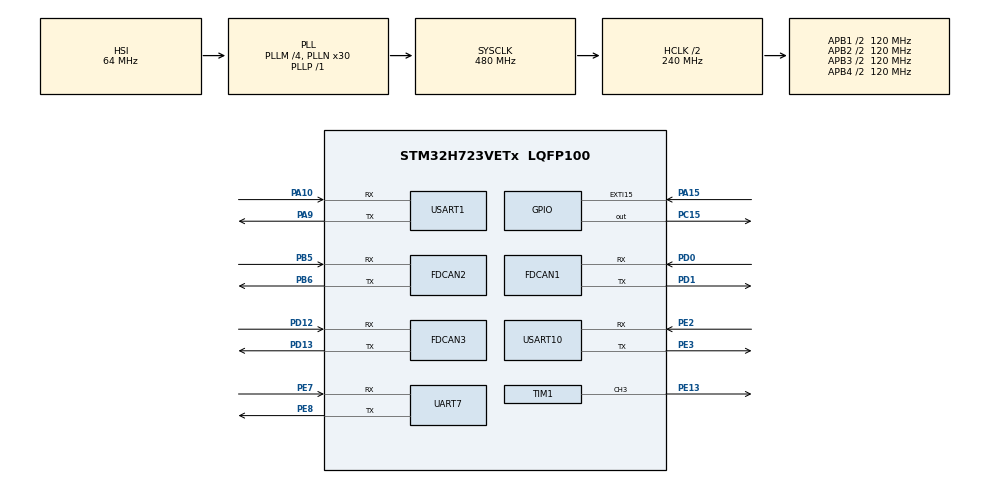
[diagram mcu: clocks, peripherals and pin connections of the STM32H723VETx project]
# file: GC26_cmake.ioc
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Dma.Request0=USART1_RX
Dma.Request1=USART1_TX
Dma.Request2=UART7_RX
Dma.Request3=UART7_TX
Dma.Request4=USART10_RX
Dma.UART7_RX.2.Direction=DMA_PERIPH_TO_MEMORY
Dma.UART7_RX.2.EventEnable=DISABLE
Dma.UART7_RX.2.FIFOMode=DMA_FIFOMODE_DISABLE
Dma.UART7_RX.2.Instance=DMA1_Stream2
Dma.UART7_RX.2.MemDataAlignment=DMA_MDATAALIGN_BYTE
Dma.UART7_RX.2.MemInc=DMA_MINC_ENABLE
Dma.UART7_RX.2.Mode=DMA_NORMAL
Dma.UART7_RX.2.PeriphDataAlignment=DMA_PDATAALIGN_BYTE
Dma.UART7_RX.2.PeriphInc=DMA_PINC_DISABLE
Dma.UART7_RX.2.Polarity=HAL_DMAMUX_REQ_GEN_RISING
Dma.UART7_RX.2.Priority=DMA_PRIORITY_LOW
Dma.UART7_RX.2.RequestNumber=1
Dma.UART7_RX.2.SignalID=NONE
Dma.UART7_RX.2.SyncEnable=DISABLE
Dma.UART7_RX.2.SyncPolarity=HAL_DMAMUX_SYNC_NO_EVENT
Dma.UART7_RX.2.SyncRequestNumber=1
Dma.UART7_RX.2.SyncSignalID=NONE
Dma.UART7_TX.3.Direction=DMA_MEMORY_TO_PERIPH
Dma.UART7_TX.3.EventEnable=DISABLE
Dma.UART7_TX.3.FIFOMode=DMA_FIFOMODE_DISABLE
Dma.UART7_TX.3.Instance=DMA1_Stream3
Dma.UART7_TX.3.MemDataAlignment=DMA_MDATAALIGN_BYTE
Dma.UART7_TX.3.MemInc=DMA_MINC_ENABLE
Dma.UART7_TX.3.Mode=DMA_NORMAL
Dma.UART7_TX.3.PeriphDataAlignment=DMA_PDATAALIGN_BYTE
Dma.UART7_TX.3.PeriphInc=DMA_PINC_DISABLE
Dma.UART7_TX.3.Polarity=HAL_DMAMUX_REQ_GEN_RISING
Dma.UART7_TX.3.Priority=DMA_PRIORITY_LOW
Dma.UART7_TX.3.RequestNumber=1
Dma.UART7_TX.3.SignalID=NONE
Dma.UART7_TX.3.SyncEnable=DISABLE
Dma.UART7_TX.3.SyncPolarity=HAL_DMAMUX_SYNC_NO_EVENT
Dma.UART7_TX.3.SyncRequestNumber=1
Dma.UART7_TX.3.SyncSignalID=NONE
Dma.USART10_RX.4.Direction=DMA_PERIPH_TO_MEMORY
Dma.USART10_RX.4.EventEnable=DISABLE
Dma.USART10_RX.4.FIFOMode=DMA_FIFOMODE_DISABLE
Dma.USART10_RX.4.Instance=DMA1_Stream4
Dma.USART10_RX.4.MemDataAlignment=DMA_MDATAALIGN_BYTE
Dma.USART10_RX.4.MemInc=DMA_MINC_ENABLE
Dma.USART10_RX.4.Mode=DMA_NORMAL
Dma.USART10_RX.4.PeriphDataAlignment=DMA_PDATAALIGN_BYTE
Dma.USART10_RX.4.PeriphInc=DMA_PINC_DISABLE
Dma.USART10_RX.4.Polarity=HAL_DMAMUX_REQ_GEN_RISING
Dma.USART10_RX.4.Priority=DMA_PRIORITY_LOW
Dma.USART10_RX.4.RequestNumber=1
Dma.USART10_RX.4.SignalID=NONE
Dma.USART10_RX.4.SyncEnable=DISABLE
Dma.USART10_RX.4.SyncPolarity=HAL_DMAMUX_SYNC_NO_EVENT
Dma.USART10_RX.4.SyncRequestNumber=1
Dma.USART10_RX.4.SyncSignalID=NONE
Dma.USART1_RX.0.Direction=DMA_PERIPH_TO_MEMORY
Dma.USART1_RX.0.EventEnable=DISABLE
Dma.USART1_RX.0.FIFOMode=DMA_FIFOMODE_DISABLE
Dma.USART1_RX.0.Instance=DMA1_Stream0
Dma.USART1_RX.0.MemDataAlignment=DMA_MDATAALIGN_BYTE
Dma.USART1_RX.0.MemInc=DMA_MINC_ENABLE
Dma.USART1_RX.0.Mode=DMA_CIRCULAR
Dma.USART1_RX.0.PeriphDataAlignment=DMA_PDATAALIGN_BYTE
Dma.USART1_RX.0.PeriphInc=DMA_PINC_DISABLE
Dma.USART1_RX.0.Polarity=HAL_DMAMUX_REQ_GEN_RISING
Dma.USART1_RX.0.Priority=DMA_PRIORITY_LOW
Dma.USART1_RX.0.RequestNumber=1
Dma.USART1_RX.0.SignalID=NONE
Dma.USART1_RX.0.SyncEnable=DISABLE
Dma.USART1_RX.0.SyncPolarity=HAL_DMAMUX_SYNC_NO_EVENT
Dma.USART1_RX.0.SyncRequestNumber=1
Dma.USART1_RX.0.SyncSignalID=NONE
Dma.USART1_TX.1.Direction=DMA_MEMORY_TO_PERIPH
Dma.USART1_TX.1.EventEnable=DISABLE
Dma.USART1_TX.1.FIFOMode=DMA_FIFOMODE_DISABLE
Dma.USART1_TX.1.Instance=DMA1_Stream1
Dma.USART1_TX.1.MemDataAlignment=DMA_MDATAALIGN_BYTE
Dma.USART1_TX.1.MemInc=DMA_MINC_ENABLE
Dma.USART1_TX.1.Mode=DMA_NORMAL
Dma.USART1_TX.1.PeriphDataAlignment=DMA_PDATAALIGN_BYTE
Dma.USART1_TX.1.PeriphInc=DMA_PINC_DISABLE
Dma.USART1_TX.1.Polarity=HAL_DMAMUX_REQ_GEN_RISING
Dma.USART1_TX.1.Priority=DMA_PRIORITY_LOW
Dma.USART1_TX.1.RequestNumber=1
Dma.USART1_TX.1.SignalID=NONE
Dma.USART1_TX.1.SyncEnable=DISABLE
Dma.USART1_TX.1.SyncPolarity=HAL_DMAMUX_SYNC_NO_EVENT
Dma.USART1_TX.1.SyncRequestNumber=1
Dma.USART1_TX.1.SyncSignalID=NONE
FDCAN1.CalculateBaudRateNominal=1000000
FDCAN1.CalculateTimeBitNominal=1000
FDCAN1.CalculateTimeQuantumNominal=25.0
FDCAN1.DataPrescaler=3
FDCAN1.DataSyncJumpWidth=10
FDCAN1.DataTimeSeg1=29
FDCAN1.DataTimeSeg2=10
FDCAN1.NominalPrescaler=3
FDCAN1.NominalSyncJumpWidth=10
FDCAN1.NominalTimeSeg1=29
FDCAN1.NominalTimeSeg2=10
FDCAN1.RxBuffersNbr=8
FDCAN1.RxFifo0ElmtsNbr=8
FDCAN1.RxFifo1ElmtsNbr=8
FDCAN1.StdFiltersNbr=1
FDCAN1.TxFifoQueueElmtsNbr=8
FDCAN2.CalculateBaudRateNominal=1000000
FDCAN2.CalculateTimeBitNominal=1000
FDCAN2.CalculateTimeQuantumNominal=25.0
FDCAN2.DataPrescaler=3
FDCAN2.DataSyncJumpWidth=10
FDCAN2.DataTimeSeg1=29
FDCAN2.DataTimeSeg2=10
FDCAN2.MessageRAMOffset=512
FDCAN2.NominalPrescaler=3
FDCAN2.NominalSyncJumpWidth=10
FDCAN2.NominalTimeSeg1=29
FDCAN2.NominalTimeSeg2=10
FDCAN2.RxFifo0ElmtsNbr=8
FDCAN2.StdFiltersNbr=1
FDCAN2.TxFifoQueueElmtsNbr=8
FDCAN3.CalculateBaudRateNominal=2500000
FDCAN3.CalculateTimeBitNominal=400
FDCAN3.CalculateTimeQuantumNominal=133.33333333333334
FREERTOS.Tasks01=defaultTask,24,128,StartDefaultTask,Default,NULL,Dynamic,NULL,NULL
Mcu.Family=STM32H7
Mcu.Name=STM32H723VETx
Mcu.Package=LQFP100
NVIC.DMA1_Stream0_IRQn=true\:5\:0\:false\:false\:true\:true\:false\:true\:true
NVIC.DMA1_Stream1_IRQn=true\:5\:0\:false\:false\:true\:true\:false\:true\:true
NVIC.DMA1_Stream2_IRQn=true\:5\:0\:false\:false\:true\:true\:false\:true\:true
NVIC.DMA1_Stream3_IRQn=true\:5\:0\:false\:false\:true\:true\:false\:true\:true
NVIC.DMA1_Stream4_IRQn=true\:5\:0\:false\:false\:true\:true\:false\:true\:true
NVIC.EXTI15_10_IRQn=true\:5\:0\:false\:false\:true\:true\:true\:true\:true
NVIC.FDCAN1_IT0_IRQn=true\:5\:0\:false\:false\:true\:true\:true\:true\:true
NVIC.FDCAN2_IT0_IRQn=true\:5\:0\:false\:false\:true\:true\:true\:true\:true
NVIC.PriorityGroup=NVIC_PRIORITYGROUP_4
NVIC.TIM8_UP_TIM13_IRQn=true\:15\:0\:false\:false\:true\:false\:false\:true\:true
NVIC.TimeBase=TIM8_UP_TIM13_IRQn
NVIC.TimeBaseIP=TIM8
NVIC.UART7_IRQn=true\:5\:0\:false\:false\:true\:true\:true\:true\:true
NVIC.USART10_IRQn=true\:5\:0\:false\:false\:true\:true\:true\:true\:true
NVIC.USART1_IRQn=true\:5\:0\:false\:false\:true\:true\:true\:true\:true
PA10.GPIO_PuPd=GPIO_PULLUP
PA10.Mode=Asynchronous
PA10.Signal=USART1_RX
PA15(JTDI).GPIO_PuPd=GPIO_PULLUP
PA15(JTDI).Signal=GPXTI15
PA9.Mode=Asynchronous
PA9.Signal=USART1_TX
PB5.Mode=FDCAN_Activate
PB5.Signal=FDCAN2_RX
PB6.Mode=FDCAN_Activate
PB6.Signal=FDCAN2_TX
PC15-OSC32_OUT.GPIO_PuPd=GPIO_PULLUP
PC15-OSC32_OUT.PinState=GPIO_PIN_SET
PC15-OSC32_OUT.Signal=GPIO_Output
PD0.Mode=FDCAN_Activate
PD0.Signal=FDCAN1_RX
PD1.Mode=FDCAN_Activate
PD1.Signal=FDCAN1_TX
PD12.Mode=FDCAN_Activate
PD12.Signal=FDCAN3_RX
PD13.Mode=FDCAN_Activate
PD13.Signal=FDCAN3_TX
PE13.Signal=S_TIM1_CH3
PE2.Mode=Asynchronous
PE2.Signal=USART10_RX
PE3.Mode=Asynchronous
PE3.Signal=USART10_TX
PE7.Mode=Asynchronous
PE7.Signal=UART7_RX
PE8.Mode=Asynchronous
PE8.Signal=UART7_TX
PH0-OSC_IN.Mode=HSE-External-Oscillator
PH0-OSC_IN.Signal=RCC_OSC_IN
PH1-OSC_OUT.Mode=HSE-External-Oscillator
PH1-OSC_OUT.Signal=RCC_OSC_OUT
ProjectManager.HeapSize=0x200
ProjectManager.StackSize=0x400
ProjectManager.TargetToolchain=CMake
RCC.ADCFreq_Value=129000000
RCC.APB1Freq_Value=120000000
RCC.APB2Freq_Value=120000000
RCC.APB3Freq_Value=120000000
RCC.APB4Freq_Value=120000000
RCC.CortexFreq_Value=480000000
RCC.D1PPRE=RCC_APB3_DIV2
RCC.D2PPRE1=RCC_APB1_DIV2
RCC.D2PPRE2=RCC_APB2_DIV2
RCC.D3PPRE=RCC_APB4_DIV2
RCC.DIVM1=4
RCC.DIVN1=30
RCC.DIVP1=1
RCC.DIVQ1=4
RCC.HCLKFreq_Value=240000000
RCC.HPRE=RCC_HCLK_DIV2
RCC.HSE_VALUE=24000000
RCC.PLL2FRACN=0
RCC.PLL3FRACN=0
RCC.PLLFRACN=0
RCC.SYSCLKFreq_VALUE=480000000
RCC.SYSCLKSource=RCC_SYSCLKSOURCE_PLLCLK
RCC.USBFreq_Value=120000000
SH.S_TIM1_CH3.0=TIM1_CH3,PWM Generation3 CH3
TIM1.Channel-PWM\ Generation3\ CH3=TIM_CHANNEL_3
TIM1.Period=19999
TIM1.Prescaler=239
TIM2.Period=4799
TIM2.Prescaler=999
TIM3.Period=4799
TIM3.Prescaler=999
USART1.VirtualMode-Asynchronous=VM_ASYNC
USART10.VirtualMode=VM_ASYNC
VP_FREERTOS_VS_CMSIS_V2.Mode=CMSIS_V2
VP_MEMORYMAP_VS_MEMORYMAP.Mode=CurAppReg
VP_SYS_VS_tim8.Mode=TIM8
VP_TIM1_VS_ClockSourceINT.Mode=Internal
VP_TIM2_VS_ClockSourceINT.Mode=Internal
VP_TIM3_VS_ClockSourceINT.Mode=Internal
board=custom

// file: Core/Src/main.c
/* USER CODE BEGIN Header */
/**
  ******************************************************************************
  * @file           : main.c
  * @brief          : Main program body
  ******************************************************************************
  * @attention
  *
  * Copyright (c) 2026 STMicroelectronics.
  * All rights reserved.
  *
  * This software is licensed under terms that can be found in the LICENSE file
  * in the root directory of this software component.
  * If no LICENSE file comes with this software, it is provided AS-IS.
  *
  ******************************************************************************
  */
/* USER CODE END Header */
#include "main.h"
#include "FreeRTOS.h"
#include "cmsis_os2.h"
#include "dma.h"
#include "fdcan.h"
#include "tim.h"
#include "usart.h"
#include "gpio.h"

/* USER CODE BEGIN Includes */
#include "comm_manager.h"
#include "interrupthandle.h"
/* USER CODE END Includes */

void SystemClock_Config(void);
void MX_FREERTOS_Init(void);

int main(void)
{

  /* MCU Configuration--------------------------------------------------------*/

  /* Reset of all peripherals, Initializes the Flash interface and the Systick. */
  HAL_Init();

  /* Configure the system clock */
  SystemClock_Config();

  /* Initialize all configured peripherals */
  MX_GPIO_Init();
  MX_DMA_Init();
  MX_FDCAN1_Init();
  MX_FDCAN2_Init();
  MX_FDCAN3_Init();
  MX_USART1_UART_Init();
  MX_TIM2_Init();
  MX_TIM3_Init();
  MX_UART7_Init();
  MX_TIM1_Init();
  MX_USART10_UART_Init();
  /* USER CODE BEGIN 2 */
  Comm_Init();

  /* 第一帧有效 Z 轴角度由驱动自动记录为软件零点 */
  WitGyro_Init();
  Gyro_UART_Start();
  /* USER CODE END 2 */

  /* Init scheduler */
  osKernelInitialize();  /* Call init function for freertos objects (in cmsis_os2.c) */
  MX_FREERTOS_Init();

  /* Start scheduler */
  osKernelStart();

  /* We should never get here as control is now taken by the scheduler */

  /* Infinite loop */
  while (1)
  {

  }
}

void SystemClock_Config(void)
{
  RCC_OscInitTypeDef RCC_OscInitStruct = {0};
  RCC_ClkInitTypeDef RCC_ClkInitStruct = {0};

  /** Supply configuration update enable
  */
  HAL_PWREx_ConfigSupply(PWR_LDO_SUPPLY);

  /** Configure the main internal regulator output voltage
  */
  __HAL_PWR_VOLTAGESCALING_CONFIG(PWR_REGULATOR_VOLTAGE_SCALE0);

  while(!__HAL_PWR_GET_FLAG(PWR_FLAG_VOSRDY)) {}

  /** Initializes the RCC Oscillators according to the specified parameters
  * in the RCC_OscInitTypeDef structure.
  */
  RCC_OscInitStruct.OscillatorType = RCC_OSCILLATORTYPE_HSI;
  RCC_OscInitStruct.HSIState = RCC_HSI_DIV1;
  RCC_OscInitStruct.HSICalibrationValue = 64;
  RCC_OscInitStruct.PLL.PLLState = RCC_PLL_ON;
  RCC_OscInitStruct.PLL.PLLSource = RCC_PLLSOURCE_HSI;
  RCC_OscInitStruct.PLL.PLLM = 4;
  RCC_OscInitStruct.PLL.PLLN = 30;
  RCC_OscInitStruct.PLL.PLLP = 1;
  RCC_OscInitStruct.PLL.PLLQ = 4;
  RCC_OscInitStruct.PLL.PLLR = 2;
  RCC_OscInitStruct.PLL.PLLRGE = RCC_PLL1VCIRANGE_3;
  RCC_OscInitStruct.PLL.PLLVCOSEL = RCC_PLL1VCOWIDE;
  RCC_OscInitStruct.PLL.PLLFRACN = 0;
  if (HAL_RCC_OscConfig(&RCC_OscInitStruct) != HAL_OK)
  {
    Error_Handler();
  }

  /** Initializes the CPU, AHB and APB buses clocks
  */
  RCC_ClkInitStruct.ClockType = RCC_CLOCKTYPE_HCLK|RCC_CLOCKTYPE_SYSCLK
                              |RCC_CLOCKTYPE_PCLK1|RCC_CLOCKTYPE_PCLK2
                              |RCC_CLOCKTYPE_D3PCLK1|RCC_CLOCKTYPE_D1PCLK1;
  RCC_ClkInitStruct.SYSCLKSource = RCC_SYSCLKSOURCE_PLLCLK;
  RCC_ClkInitStruct.SYSCLKDivider = RCC_SYSCLK_DIV1;
  RCC_ClkInitStruct.AHBCLKDivider = RCC_HCLK_DIV2;
  RCC_ClkInitStruct.APB3CLKDivider = RCC_APB3_DIV2;
  RCC_ClkInitStruct.APB1CLKDivider = RCC_APB1_DIV2;
  RCC_ClkInitStruct.APB2CLKDivider = RCC_APB2_DIV2;
  RCC_ClkInitStruct.APB4CLKDivider = RCC_APB4_DIV2;

  if (HAL_RCC_ClockConfig(&RCC_ClkInitStruct, FLASH_LATENCY_3) != HAL_OK)
  {
    Error_Handler();
  }
}

void HAL_TIM_PeriodElapsedCallback(TIM_HandleTypeDef *htim)
{
  if (htim->Instance == TIM8)
  {
    HAL_IncTick();
  }
}

void Error_Handler(void)
{
  __disable_irq();
  while (1)
  {
  }
}

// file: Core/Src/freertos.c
/* USER CODE BEGIN Header */
/**
  ******************************************************************************
  * File Name          : freertos.c
  * Description        : Code for freertos applications
  ******************************************************************************
  * @attention
  *
  * Copyright (c) 2026 STMicroelectronics.
  * All rights reserved.
  *
  * This software is licensed under terms that can be found in the LICENSE file
  * in the root directory of this software component.
  * If no LICENSE file comes with this software, it is provided AS-IS.
  *
  ******************************************************************************
  */
/* USER CODE END Header */

#include "FreeRTOS.h"
#include "task.h"
#include "main.h"
#include "FreeRTOS.h"
#include "cmsis_os2.h"

/* USER CODE BEGIN Includes */
#include "ChassisControl.h"
#include "comm_manager.h"
#include "statemachine.h"
#include "gimbal.h"
#include "config.h"
#include "fdcan.h"
#include "bsp_zdt.h"
/* USER CODE END Includes */

/* Definitions for defaultTask */
osThreadId_t defaultTaskHandle;
const osThreadAttr_t defaultTask_attributes = {
  .name = "defaultTask",
  .stack_size = 128 * 4,
  .priority = (osPriority_t) osPriorityNormal,
};

/* USER CODE BEGIN FunctionPrototypes */

static volatile uint32_t g_zdt_init_fail_mask = 0;

static HAL_StatusTypeDef ZDT_EnableBeforeTasks(uint8_t addr)
{
  for (uint8_t retry = 0; retry < 3; retry++)
  {
    if (ZDT_Enable(addr) == HAL_OK)
    {
      HAL_Delay(10);
      return HAL_OK;
    }
    HAL_Delay(2);
  }

  g_zdt_init_fail_mask |= (1UL << addr);
  return HAL_ERROR;
}

static void ZDT_PreTaskInit(void)
{
  ZDT_Init(&hfdcan1);

#if !CONFIG_STEPPER_USE_UART1
  if (HAL_FDCAN_Start(&hfdcan1) != HAL_OK)
  {
    g_zdt_init_fail_mask |= (1UL << 31);
    return;
  }
#endif

#if CONFIG_USE_CHASSIS
  for (uint8_t addr = 1; addr <= 4; addr++)
    ZDT_EnableBeforeTasks(addr);
#endif

#if CONFIG_USE_GIMBAL
  ZDT_EnableBeforeTasks(5);
  ZDT_EnableBeforeTasks(6);
#endif
}

/* USER CODE END FunctionPrototypes */

void StartDefaultTask(void *argument);

void MX_FREERTOS_Init(void); /* (MISRA C 2004 rule 8.1) */

void MX_FREERTOS_Init(void) {
  /* USER CODE BEGIN Init */
  /* 在创建任何业务任务前启动总线并依次使能全部 ZDT 电机。 */
  ZDT_PreTaskInit();

#if CONFIG_USE_GIMBAL
  /*
   * 必须在创建任何 FreeRTOS 任务之前执行：
   * 调度器启动前创建任务会屏蔽低优先级中断，此后 HAL_Delay 无法依靠
   * TIM8（优先级 15）推进时基。
   */
  Gimbal_GripperInit();
  Gimbal_Gripper(CONFIG_GRIPPER_OPEN_PULSE_US);
#if CONFIG_GRIPPER_STARTUP_TEST
HAL_Delay(CONFIG_GRIPPER_STARTUP_TEST_HOLD_MS);
Gimbal_Gripper(CONFIG_GRIPPER_CLOSE_PULSE_US);
HAL_Delay(CONFIG_GRIPPER_STARTUP_TEST_HOLD_MS);
#endif
#endif
  /* USER CODE END Init */

  /* Create the thread(s) */
  /* creation of defaultTask */
  defaultTaskHandle = osThreadNew(StartDefaultTask, NULL, &defaultTask_attributes);

  /* USER CODE BEGIN RTOS_THREADS */
  /* add threads, ... */
#if CONFIG_USE_CHASSIS
  Chassis_TaskInit();
#endif
  Comm_InitTask();
#if CONFIG_USE_GIMBAL
  Gimbal_InitTask();                  /* 启动云台电机 J4310 角度闭环 (1kHz PID) */
#endif
  SM_Init();
  /* USER CODE END RTOS_THREADS */

}

void StartDefaultTask(void *argument)
{
  for(;;)
  {
    osDelay(1);
  }
}
